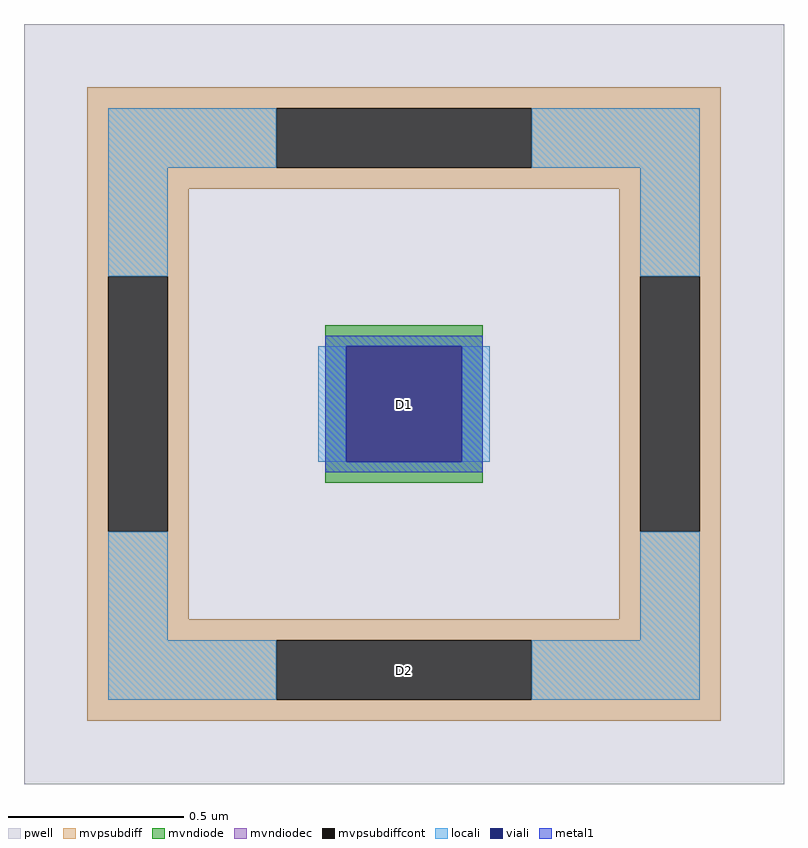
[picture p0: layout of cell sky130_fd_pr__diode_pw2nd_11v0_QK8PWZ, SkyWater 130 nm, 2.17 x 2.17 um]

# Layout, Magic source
magic
tech sky130A
magscale 1 2
<< pwell >>
rect -217 -217 217 217
<< mvpsubdiff >>
rect -181 169 181 181
rect -181 135 -73 169
rect 73 135 181 169
rect -181 123 181 135
rect -181 73 -123 123
rect -181 -73 -169 73
rect -135 -73 -123 73
rect 123 73 181 123
rect -181 -123 -123 -73
rect 123 -73 135 73
rect 169 -73 181 73
rect 123 -123 181 -73
rect -181 -135 181 -123
rect -181 -169 -73 -135
rect 73 -169 181 -135
rect -181 -181 181 -169
<< mvpsubdiffcont >>
rect -73 135 73 169
rect -169 -73 -135 73
rect 135 -73 169 73
rect -73 -169 73 -135
<< mvndiode >>
rect -45 33 45 45
rect -45 -33 -33 33
rect 33 -33 45 33
rect -45 -45 45 -33
<< mvndiodec >>
rect -33 -33 33 33
<< locali >>
rect -169 135 -73 169
rect 73 135 169 169
rect -169 73 -135 135
rect 135 73 169 135
rect -49 -33 -33 33
rect 33 -33 49 33
rect -169 -135 -135 -73
rect 135 -135 169 -73
rect -169 -169 -73 -135
rect 73 -169 169 -135
<< viali >>
rect -33 -33 33 33
<< metal1 >>
rect -45 33 45 39
rect -45 -33 -33 33
rect 33 -33 45 33
rect -45 -39 45 -33
<< labels >>
rlabel mvpsubdiffcont 0 -152 0 -152 0 D2
port 1 nsew
rlabel mvndiodec 0 0 0 0 0 D1
port 2 nsew
<< properties >>
string FIXED_BBOX -152 -152 152 152
string gencell sky130_fd_pr__diode_pw2nd_11v0
string library sky130
string parameters w 0.45 l 0.45 area 202.5m peri 1.8 nx 1 ny 1 dummy 0 lmin 0.45 wmin 0.45 class diode elc 1 erc 1 etc 1 ebc 1 doverlap 0 compatible {sky130_fd_pr__diode_pw2nd_05v5 sky130_fd_pr__diode_pw2nd_05v5_lvt  sky130_fd_pr__diode_pw2nd_05v5_nvt sky130_fd_pr__diode_pw2nd_11v0} full_metal 1 vias 1 viagb 0 viagt 0 viagl 0 viagr 0 doports 1
<< end >>
